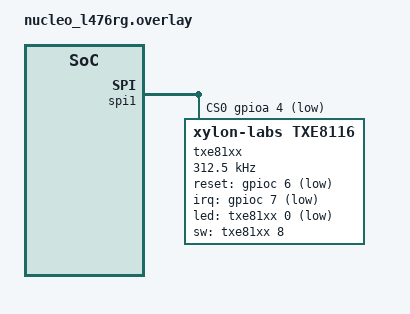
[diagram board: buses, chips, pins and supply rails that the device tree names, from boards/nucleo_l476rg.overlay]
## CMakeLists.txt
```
# SPDX-License-Identifier: MIT
cmake_minimum_required(VERSION 3.20.0)

# Make the driver module available when building this sample standalone
list(APPEND ZEPHYR_EXTRA_MODULES ${CMAKE_CURRENT_SOURCE_DIR}/../..)

find_package(Zephyr REQUIRED HINTS $ENV{ZEPHYR_BASE})
project(gpio_interrupt)

target_sources(app PRIVATE src/main.c)
```

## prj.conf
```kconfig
CONFIG_GPIO=y
CONFIG_SPI=y
CONFIG_GPIO_TXE81XX=y

CONFIG_LOG=y
CONFIG_LOG_MODE_IMMEDIATE=y
CONFIG_MAIN_STACK_SIZE=2048

CONFIG_SERIAL=y
CONFIG_CONSOLE=y
CONFIG_UART_CONSOLE=y
CONFIG_PRINTK=y
```

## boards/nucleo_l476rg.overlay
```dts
/* SPDX-License-Identifier: MIT */
/* Overlay for TXE81xx GPIO interrupt sample — STM32 Nucleo-L476RG */

&spi1 {
    status = "okay";
    cs-gpios = <&gpioa 4 GPIO_ACTIVE_LOW>;

    txe81xx: txe81xx@0 {
        compatible = "xylon-labs,txe8116";
        reg = <0>;
        spi-max-frequency = <312500>;
        reset-gpios = <&gpioc 6 GPIO_ACTIVE_LOW>;
        irq-gpios   = <&gpioc 7 GPIO_ACTIVE_LOW>;
        gpio-controller;
        #gpio-cells = <2>;
        ngpios = <16>;

        /* pin 0 = port 0, pin 0 — LED (active low) */
        led-gpios = <&txe81xx 0 GPIO_ACTIVE_LOW>;

        /* pin 8 = port 1, pin 0 — switch (active high) */
        sw-gpios  = <&txe81xx 8 GPIO_ACTIVE_HIGH>;

        /* hardware glitch filter enabled on switch pin (bit 8) */
        glitch-filter-pins = <0x00000100>;
    };
};
```

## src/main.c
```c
/* SPDX-License-Identifier: MIT */
/* Copyright (c) 2026 Ronny Eia */

#include <zephyr/kernel.h>
#include <zephyr/device.h>
#include <zephyr/devicetree.h>
#include <zephyr/drivers/gpio.h>
#include <zephyr/logging/log.h>

LOG_MODULE_REGISTER(gpio_interrupt, LOG_LEVEL_INF);

#define TXE_NODE DT_NODELABEL(txe81xx)

#if !DT_NODE_EXISTS(TXE_NODE)
#error "DT node 'txe81xx' not found — add a board overlay with the TXE81xx node"
#endif

/*
 * Pins are defined in the board overlay:
 *   led-gpios: port 0, pin 0 — toggled on each switch event
 *   sw-gpios:  port 1, pin 0 — triggers the interrupt
 */
static const struct gpio_dt_spec led = GPIO_DT_SPEC_GET(TXE_NODE, led_gpios);
static const struct gpio_dt_spec sw = GPIO_DT_SPEC_GET(TXE_NODE, sw_gpios);

static struct gpio_callback sw_cb;

static void sw_handler(const struct device *dev, struct gpio_callback *cb, gpio_port_pins_t pins)
{
	ARG_UNUSED(dev);
	ARG_UNUSED(cb);
	ARG_UNUSED(pins);

	int state = gpio_pin_get_dt(&sw);

	LOG_INF("Switch: %s", state > 0 ? "PRESSED" : "RELEASED");
	gpio_pin_toggle_dt(&led);
}

int main(void)
{
	int ret;

	LOG_INF("TXE81xx GPIO interrupt sample");

	if (!gpio_is_ready_dt(&led) || !gpio_is_ready_dt(&sw)) {
		LOG_ERR("GPIO not ready");
		return -ENODEV;
	}

	ret = gpio_pin_configure_dt(&led, GPIO_OUTPUT_INACTIVE);
	if (ret) {
		LOG_ERR("Failed to configure LED: %d", ret);
		return ret;
	}

	ret = gpio_pin_configure_dt(&sw, GPIO_INPUT | GPIO_PULL_DOWN);
	if (ret) {
		LOG_ERR("Failed to configure switch: %d", ret);
		return ret;
	}

	gpio_init_callback(&sw_cb, sw_handler, BIT(sw.pin));

	ret = gpio_add_callback_dt(&sw, &sw_cb);
	if (ret) {
		LOG_ERR("Failed to add callback: %d", ret);
		return ret;
	}

	ret = gpio_pin_interrupt_configure_dt(&sw, GPIO_INT_EDGE_BOTH);
	if (ret) {
		LOG_ERR("Failed to configure interrupt: %d", ret);
		return ret;
	}

	LOG_INF("Waiting for switch events...");

	while (1) {
		k_sleep(K_FOREVER);
	}

	return 0;
}
```
